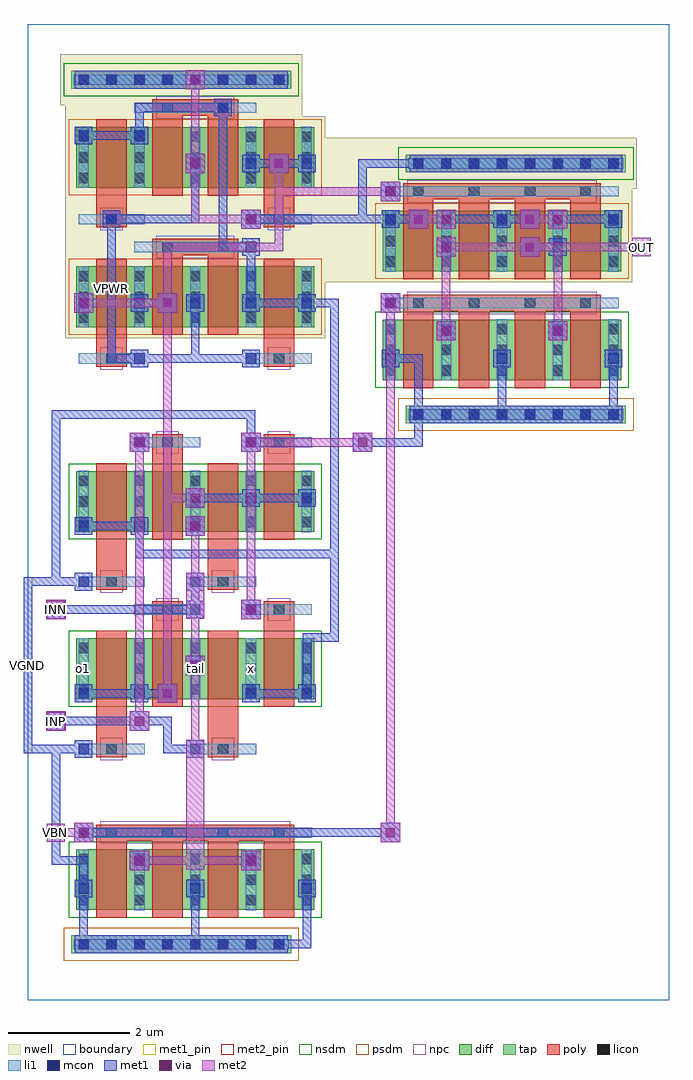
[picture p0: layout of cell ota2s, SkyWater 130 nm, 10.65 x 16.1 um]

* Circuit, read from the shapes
.subckt ota2s INN INP OUT VBN VGND VPWR o1 tail x
XM1 tail VBN VGND VGND sky130_fd_pr__nfet_01v8 w=1 l=0.5 m=4
XM2 o1 VGND o1 VGND sky130_fd_pr__nfet_01v8 w=1 l=0.5 m=2
XM3 x VGND x VGND sky130_fd_pr__nfet_01v8 w=1 l=0.5 m=2
XM4 tail INN o1 VGND sky130_fd_pr__nfet_01v8 w=1 l=0.5 m=2
XM5 tail INP x VGND sky130_fd_pr__nfet_01v8 w=1 l=0.5 m=2
XM6 OUT VBN VGND VGND sky130_fd_pr__nfet_01v8 w=1 l=0.5 m=4
XM7 o1 VPWR o1 VPWR sky130_fd_pr__pfet_01v8 w=1 l=0.5 m=2
XM8 x VPWR x VPWR sky130_fd_pr__pfet_01v8 w=1 l=0.5 m=2
XM9 VPWR x o1 VPWR sky130_fd_pr__pfet_01v8 w=1 l=0.5 m=2
XM10 VPWR x x VPWR sky130_fd_pr__pfet_01v8 w=1 l=0.5 m=2
XM11 OUT o1 VPWR VPWR sky130_fd_pr__pfet_01v8 w=1 l=0.5 m=4
.ends

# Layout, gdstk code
import gdstk
lib = gdstk.Library(unit=1e-6, precision=1e-09)
def R(c, l, rs):  # rectangles x0, y0, x1, y1
    for r in rs: c.add(gdstk.rectangle(r[:2], r[2:], *l))
def A(c, l, x, y, w, h, nx, ny, dx, dy):  # array of equal rectangles
    R(c, l, [(x+i*dx, y+j*dy, x+i*dx+w, y+j*dy+h) for i in range(nx) for j in range(ny)])
nwell = (64, 20)
diff = (65, 20)
tap = (65, 44)
poly = (66, 20)
licon = (66, 44)
li1 = (67, 20)
mcon = (67, 44)
met1_pin = (68, 16)
met1 = (68, 20)
via = (68, 44)
met2_pin = (69, 16)
met2 = (69, 20)
nsdm = (93, 44)
psdm = (94, 20)
npc = (95, 20)
boundary = (235, 4)

ota2s = lib.new_cell('ota2s')
R(ota2s, nwell, [(0.615,10.92,4.905,11.84), (0.615,11.84,9.965,13.38), (0.615,13.38,10.045,14.22), (0.615,14.22,4.905,14.58), (0.615,14.58,4.525,14.76), (0.535,14.76,4.525,15.6)])
R(ota2s, diff, [(0.795,1.485,4.725,2.485), (0.795,4.965,4.725,5.965), (0.795,7.725,4.725,8.725), (5.855,10.225,9.785,11.225), (0.795,11.1,4.725,12.1), (5.855,12.02,9.785,13.02), (0.795,13.4,4.725,14.4)])
R(ota2s, tap, [(0.715,0.775,4.345,1.065), (6.235,9.515,9.865,9.805), (6.235,13.655,9.865,13.945), (0.715,15.035,4.345,15.325)])
A(ota2s, poly, 1.13, 1.355, 0.5, 1.405, 4, 1, 0.92, 0)
A(ota2s, poly, 6.19, 10.095, 0.5, 1.405, 4, 1, 0.92, 0)
A(ota2s, poly, 6.19, 11.89, 0.5, 1.45, 4, 1, 0.92, 0)
R(ota2s, poly, [(1.13,2.625,4.39,2.895), (1.13,4.005,1.63,4.275), (2.97,4.005,3.47,4.275), (1.13,4.14,1.63,6.095), (2.97,4.14,3.47,6.095), (2.05,4.835,2.55,6.44), (3.89,4.835,4.39,6.44), (2.05,6.305,2.55,6.575), (3.89,6.305,4.39,6.575), (1.13,6.765,1.63,7.035), (2.97,6.765,3.47,7.035), (1.13,6.9,1.63,8.855), (2.97,6.9,3.47,8.855), (2.05,7.595,2.55,9.2), (3.89,7.595,4.39,9.2), (2.05,9.065,2.55,9.335), (3.89,9.065,4.39,9.335), (1.13,10.445,1.63,10.715), (3.89,10.445,4.39,10.715), (1.13,10.58,1.63,12.23), (3.89,10.58,4.39,12.23), (2.05,10.97,2.55,12.42), (2.97,10.97,3.47,12.42), (6.19,11.365,9.45,11.635), (2.05,12.285,3.47,12.555), (1.13,12.745,1.63,13.015), (3.89,12.745,4.39,13.015), (1.13,12.88,1.63,14.53), (3.89,12.88,4.39,14.53), (6.19,13.205,9.45,13.475), (2.05,13.27,2.55,14.72), (2.97,13.27,3.47,14.72), (2.05,14.585,3.47,14.855)])
A(ota2s, licon, 0.835, 0.835, 0.17, 0.17, 8, 2, 0.46, 14.26)
A(ota2s, licon, 0.835, 1.56, 0.17, 0.17, 5, 3, 0.92, 0.34)
A(ota2s, licon, 1.295, 2.675, 0.17, 0.17, 4, 1, 0.92, 0)
A(ota2s, licon, 0.835, 5.04, 0.17, 0.17, 5, 3, 0.92, 0.34)
A(ota2s, licon, 0.835, 7.8, 0.17, 0.17, 5, 3, 0.92, 0.34)
A(ota2s, licon, 6.355, 9.575, 0.17, 0.17, 8, 2, 0.46, 4.14)
A(ota2s, licon, 5.895, 10.3, 0.17, 0.17, 5, 3, 0.92, 0.34)
A(ota2s, licon, 0.835, 11.175, 0.17, 0.17, 5, 3, 0.92, 0.34)
A(ota2s, licon, 6.355, 11.415, 0.17, 0.17, 4, 2, 0.92, 1.84)
A(ota2s, licon, 5.895, 12.095, 0.17, 0.17, 5, 3, 0.92, 0.34)
A(ota2s, licon, 0.835, 13.475, 0.17, 0.17, 5, 3, 0.92, 0.34)
R(ota2s, licon, [(1.295,4.055,1.465,4.225), (3.135,4.055,3.305,4.225), (2.215,6.355,2.385,6.525), (4.055,6.355,4.225,6.525), (1.295,6.815,1.465,6.985), (3.135,6.815,3.305,6.985), (2.215,9.115,2.385,9.285), (4.055,9.115,4.225,9.285), (1.295,10.495,1.465,10.665), (4.055,10.495,4.225,10.665), (2.215,12.335,2.385,12.505), (3.135,12.335,3.305,12.505), (1.295,12.795,1.465,12.965), (4.055,12.795,4.225,12.965), (2.215,14.635,2.385,14.805), (3.135,14.635,3.305,14.805)])
A(ota2s, li1, 0.835, 1.48, 0.17, 1.01, 5, 2, 0.92, 3.48)
A(ota2s, li1, 0.835, 7.72, 0.17, 1.01, 5, 2, 0.92, 3.375)
A(ota2s, li1, 5.895, 10.22, 0.17, 1.01, 5, 2, 0.92, 1.795)
A(ota2s, li1, 0.835, 13.395, 0.17, 1.01, 5, 1, 0.92, 0)
R(ota2s, li1, [(0.755,0.835,4.305,1.005), (0.835,2.675,4.685,2.845), (0.835,4.055,1.925,4.225), (2.675,4.055,3.765,4.225), (1.755,6.355,2.845,6.525), (3.595,6.355,4.685,6.525), (0.835,6.815,1.925,6.985), (2.675,6.815,3.765,6.985), (1.755,9.115,2.845,9.285), (3.595,9.115,4.685,9.285), (6.275,9.575,9.825,9.745), (0.835,10.495,1.925,10.665), (3.595,10.495,4.685,10.665), (5.895,11.415,9.745,11.585), (1.755,12.335,3.765,12.505), (0.835,12.795,1.925,12.965), (3.595,12.795,4.685,12.965), (5.895,13.255,9.745,13.425), (6.275,13.715,9.825,13.885), (1.755,14.635,3.765,14.805), (0.755,15.095,4.305,15.265)])
A(ota2s, mcon, 0.835, 0.835, 0.17, 0.17, 8, 2, 0.46, 14.26)
A(ota2s, mcon, 0.835, 1.755, 0.17, 0.17, 3, 1, 1.84, 0)
A(ota2s, mcon, 0.835, 7.735, 0.17, 0.17, 3, 1, 0.92, 0)
A(ota2s, mcon, 6.355, 9.575, 0.17, 0.17, 8, 2, 0.46, 4.14)
A(ota2s, mcon, 5.895, 10.495, 0.17, 0.17, 3, 1, 1.84, 0)
A(ota2s, mcon, 0.835, 11.415, 0.17, 0.17, 5, 1, 0.92, 0)
A(ota2s, mcon, 1.295, 12.795, 0.17, 0.17, 3, 1, 2.3, 0)
A(ota2s, mcon, 2.675, 13.715, 0.17, 0.17, 3, 1, 0.92, 0)
R(ota2s, mcon, [(1.755,2.215,1.925,2.385), (3.595,2.215,3.765,2.385), (0.835,2.675,1.005,2.845), (0.835,4.055,1.005,4.225), (2.675,4.055,2.845,4.225), (0.835,4.975,1.005,5.145), (1.755,4.975,1.925,5.145), (3.595,4.975,3.765,5.145), (4.515,4.975,4.685,5.145), (2.675,5.435,2.845,5.605), (2.675,6.355,2.845,6.525), (3.595,6.355,3.765,6.525), (0.835,6.815,1.005,6.985), (2.675,6.815,2.845,6.985), (3.595,8.195,3.765,8.365), (4.515,8.195,4.685,8.365), (1.755,9.115,1.925,9.285), (3.595,9.115,3.765,9.285), (1.755,10.495,1.925,10.665), (3.595,10.495,3.765,10.665), (6.815,10.955,6.985,11.125), (8.655,10.955,8.825,11.125), (5.895,11.415,6.065,11.585), (3.595,12.335,3.765,12.505), (6.815,12.335,6.985,12.505), (8.655,12.335,8.825,12.505), (7.735,12.795,7.905,12.965), (9.575,12.795,9.745,12.965), (5.895,13.255,6.065,13.425), (0.835,14.175,1.005,14.345), (1.755,14.175,1.925,14.345), (3.135,14.635,3.305,14.805)])
R(ota2s, met1_pin, [(-0.07,4.07,0.07,6.97), (1.31,10.51,1.45,12.95)])
A(ota2s, met1, 0.85, 0.85, 0.14, 1.06, 3, 1, 1.84, 0)
A(ota2s, met1, 0.775, 1.695, 0.29, 0.29, 3, 1, 1.84, 0)
A(ota2s, met1, 3.61, 4.99, 1.06, 0.14, 1, 3, 0, 3.22)
A(ota2s, met1, 0.775, 7.675, 0.29, 0.29, 3, 1, 0.92, 0)
A(ota2s, met1, 1.68, 9.04, 0.32, 0.32, 3, 1, 1.84, 0)
A(ota2s, met1, 5.835, 10.435, 0.29, 0.29, 3, 1, 1.84, 0)
A(ota2s, met1, 0.775, 11.355, 0.29, 0.29, 5, 1, 0.92, 0)
A(ota2s, met1, 1.235, 12.735, 0.29, 0.29, 3, 1, 2.3, 0)
A(ota2s, met1, 2.615, 13.655, 0.29, 0.29, 3, 1, 0.92, 0)
R(ota2s, met1, [(0.775,0.775,4.285,1.065), (0.85,0.85,0.99,0.99), (0.85,0.85,2.83,0.99), (2.69,0.85,4.67,0.99), (0.85,1.77,0.99,2.37), (1.68,2.14,2,2.46), (3.52,2.14,3.84,2.46), (1.695,2.155,1.985,2.445), (3.535,2.155,3.825,2.445), (0.39,2.23,0.99,2.37), (0.39,2.23,0.53,4.21), (0.76,2.6,1.08,2.92), (5.82,2.6,6.14,2.92), (0.775,2.615,1.065,2.905), (0.85,2.69,6.05,2.83), (0.775,3.995,1.065,4.285), (2.615,3.995,2.905,4.285), (-0.07,4.07,0.53,4.21), (-0.07,4.07,0.07,6.97), (0.39,4.07,0.99,4.21), (2.23,4.07,2.83,4.21), (2.23,4.07,2.37,4.67), (0.3,4.44,0.62,4.76), (1.68,4.44,2,4.76), (0.39,4.53,2.37,4.67), (2.14,4.9,2.46,5.22), (0.775,4.915,1.065,5.205), (1.695,4.915,1.985,5.205), (3.535,4.915,3.825,5.205), (4.455,4.915,4.745,5.205), (0.85,4.99,1.91,5.13), (1.77,4.99,2.37,5.13), (4.53,4.99,4.67,6.05), (2.6,5.36,2.92,5.68), (2.615,5.375,2.905,5.665), (4.53,5.91,5.13,6.05), (4.99,5.91,5.13,7.43), (0.3,6.28,0.62,6.6), (3.52,6.28,3.84,6.6), (2.615,6.295,2.905,6.585), (3.535,6.295,3.825,6.585), (0.39,6.37,2.83,6.51), (2.69,6.37,2.83,6.97), (0.775,6.755,1.065,7.045), (2.615,6.755,2.905,7.045), (-0.07,6.83,0.99,6.97), (0.39,6.83,0.53,9.73), (1.77,7.29,5.13,7.43), (1.77,7.29,1.91,7.89), (4.99,7.29,5.13,11.57), (2.6,7.66,2.92,7.98), (0.85,7.75,1.91,7.89), (2.6,8.12,2.92,8.44), (3.535,8.135,3.825,8.425), (4.455,8.135,4.745,8.425), (2.69,8.21,3.75,8.35), (1.695,9.055,1.985,9.345), (3.535,9.055,3.825,9.345), (3.61,9.13,3.75,9.73), (5.45,9.13,6.51,9.27), (6.37,9.13,6.51,9.73), (6.295,9.515,9.805,9.805), (0.39,9.59,3.75,9.73), (6.37,9.59,6.51,9.73), (6.37,9.59,6.51,10.65), (6.37,9.59,7.89,9.73), (7.75,9.59,7.89,10.65), (7.75,9.59,9.73,9.73), (9.59,9.59,9.73,10.65), (1.695,10.435,1.985,10.725), (3.535,10.435,3.825,10.725), (1.31,10.51,1.91,10.65), (1.31,10.51,1.45,12.95), (1.77,10.51,2.83,10.65), (2.69,10.51,2.83,11.57), (2.69,10.51,3.75,10.65), (5.91,10.51,6.51,10.65), (6.74,10.88,7.06,11.2), (8.58,10.88,8.9,11.2), (6.755,10.895,7.045,11.185), (8.595,10.895,8.885,11.185), (0.76,11.34,1.08,11.66), (2.14,11.34,2.46,11.66), (5.82,11.34,6.14,11.66), (5.835,11.355,6.125,11.645), (1.77,11.43,2.37,11.57), (3.61,11.43,3.75,12.49), (4.53,11.43,5.13,11.57), (6.74,12.26,7.06,12.58), (8.12,12.26,8.44,12.58), (3.535,12.275,3.825,12.565), (6.755,12.275,7.045,12.565), (8.595,12.275,8.885,12.565), (3.15,12.35,3.75,12.49), (3.15,12.35,3.29,14.79), (8.21,12.35,8.81,12.49), (3.52,12.72,3.84,13.04), (6.28,12.72,6.6,13.04), (6.74,12.72,7.06,13.04), (8.12,12.72,8.44,13.04), (8.58,12.72,8.9,13.04), (7.675,12.735,7.965,13.025), (9.515,12.735,9.805,13.025), (1.31,12.81,2.83,12.95), (2.69,12.81,2.83,13.87), (3.61,12.81,6.05,12.95), (5.45,12.81,5.59,13.87), (5.91,12.81,6.51,12.95), (6.83,12.81,7.89,12.95), (7.75,12.81,8.35,12.95), (8.67,12.81,9.73,12.95), (5.82,13.18,6.14,13.5), (5.835,13.195,6.125,13.485), (2.6,13.64,2.92,13.96), (3.98,13.64,4.3,13.96), (6.295,13.655,9.805,13.945), (3.61,13.73,4.21,13.87), (4.07,13.73,4.67,13.87), (5.45,13.73,6.51,13.87), (6.37,13.73,6.51,13.87), (0.775,14.115,1.065,14.405), (1.695,14.115,1.985,14.405), (0.85,14.19,1.91,14.33), (1.77,14.19,1.91,14.79), (3.075,14.575,3.365,14.865), (1.77,14.65,3.29,14.79), (2.6,15.02,2.92,15.34), (0.775,15.035,4.285,15.325), (2.69,15.11,2.83,15.25)])
A(ota2s, via, 1.765, 9.125, 0.15, 0.15, 3, 1, 1.84, 0)
R(ota2s, via, [(1.765,2.225,1.915,2.375), (3.605,2.225,3.755,2.375), (0.845,2.685,0.995,2.835), (5.905,2.685,6.055,2.835), (0.385,4.525,0.535,4.675), (1.765,4.525,1.915,4.675), (2.225,4.985,2.375,5.135), (2.685,5.445,2.835,5.595), (0.385,6.365,0.535,6.515), (3.605,6.365,3.755,6.515), (2.685,7.745,2.835,7.895), (2.685,8.205,2.835,8.355), (6.825,10.965,6.975,11.115), (8.665,10.965,8.815,11.115), (0.845,11.425,0.995,11.575), (2.225,11.425,2.375,11.575), (5.905,11.425,6.055,11.575), (6.825,12.345,6.975,12.495), (8.205,12.345,8.355,12.495), (3.605,12.805,3.755,12.955), (6.365,12.805,6.515,12.955), (6.825,12.805,6.975,12.955), (8.205,12.805,8.355,12.955), (8.665,12.805,8.815,12.955), (5.905,13.265,6.055,13.415), (2.685,13.725,2.835,13.875), (4.065,13.725,4.215,13.875), (2.685,15.105,2.835,15.255)])
A(ota2s, met2_pin, 0.31, 2.61, 0.3, 0.3, 1, 3, 0, 1.84)
R(ota2s, met2_pin, [(9.97,12.27,10.27,12.57)])
A(ota2s, met2, 0.31, 2.61, 0.3, 0.3, 1, 3, 0, 1.84)
A(ota2s, met2, 0.39, 2.69, 0.14, 0.14, 1, 3, 0, 1.84)
A(ota2s, met2, 1.68, 9.04, 0.32, 0.32, 3, 1, 1.84, 0)
R(ota2s, met2, [(1.68,2.14,2,2.46), (3.52,2.14,3.84,2.46), (2.61,2.15,2.91,4.29), (1.77,2.23,2.83,2.37), (2.69,2.23,3.75,2.37), (0.76,2.6,1.08,2.92), (5.82,2.6,6.14,2.92), (0.39,2.69,0.99,2.83), (5.91,2.69,6.05,11.57), (2.69,4.07,2.83,5.59), (0.3,4.44,0.62,4.76), (1.68,4.44,2,4.76), (1.77,4.53,1.91,9.27), (2.14,4.9,2.46,5.22), (2.23,4.99,2.37,8.35), (2.6,5.36,2.92,5.68), (2.69,5.45,2.83,6.51), (0.3,6.28,0.62,6.6), (3.52,6.28,3.84,6.6), (2.61,6.29,2.91,7.05), (3.61,6.37,3.75,9.27), (2.69,6.83,2.83,7.89), (2.6,7.66,2.92,7.98), (2.6,8.12,2.92,8.44), (2.23,8.21,2.83,8.35), (2.23,8.21,2.37,11.57), (3.61,9.13,5.59,9.27), (6.74,10.88,7.06,11.2), (8.58,10.88,8.9,11.2), (6.83,10.97,6.97,12.49), (8.67,10.97,8.81,12.49), (0.76,11.34,1.08,11.66), (2.14,11.34,2.46,11.66), (5.82,11.34,6.14,11.66), (0.85,11.43,2.37,11.57), (2.23,11.43,2.37,12.49), (6.74,12.26,7.06,12.58), (8.12,12.26,8.44,12.58), (9.97,12.27,10.27,12.57), (2.23,12.35,4.21,12.49), (4.07,12.35,4.21,13.87), (6.83,12.35,8.35,12.49), (8.21,12.35,10.19,12.49), (10.05,12.35,10.19,12.49), (3.52,12.72,3.84,13.04), (6.28,12.72,6.6,13.04), (6.74,12.72,7.06,13.04), (8.12,12.72,8.44,13.04), (8.58,12.72,8.9,13.04), (2.69,12.81,2.83,13.87), (2.69,12.81,3.75,12.95), (6.37,12.81,6.97,12.95), (8.21,12.81,8.81,12.95), (5.82,13.18,6.14,13.5), (4.07,13.27,6.05,13.41), (2.6,13.64,2.92,13.96), (3.98,13.64,4.3,13.96), (2.69,13.73,2.83,15.25), (2.6,15.02,2.92,15.34)])
R(ota2s, nsdm, [(0.67,1.36,4.85,2.61), (0.67,4.84,4.85,6.09), (0.67,7.6,4.85,8.85), (5.73,10.1,9.91,11.35), (6.11,13.53,9.99,14.07), (0.59,14.91,4.47,15.45)])
R(ota2s, psdm, [(0.59,0.65,4.47,1.19), (6.11,9.39,9.99,9.93), (0.67,10.975,4.85,12.225), (5.73,11.895,9.91,13.145), (0.67,13.275,4.85,14.525)])
R(ota2s, npc, [(1.195,2.575,4.325,2.945), (1.195,3.955,1.565,4.325), (3.035,3.955,3.405,4.325), (2.115,6.255,2.485,6.625), (3.955,6.255,4.325,6.625), (1.195,6.715,1.565,7.085), (3.035,6.715,3.405,7.085), (2.115,9.015,2.485,9.385), (3.955,9.015,4.325,9.385), (1.195,10.395,1.565,10.765), (3.955,10.395,4.325,10.765), (6.255,11.315,9.385,11.685), (2.115,12.235,3.405,12.605), (1.195,12.695,1.565,13.065), (3.955,12.695,4.325,13.065), (6.255,13.155,9.385,13.525), (2.115,14.535,3.405,14.905)])
R(ota2s, boundary, [(0,0,10.58,16.1)])
ota2s.add(gdstk.Label('o1', (0.92,5.465), layer=67, texttype=5))
ota2s.add(gdstk.Label('tail', (2.76,5.465), layer=67, texttype=5))
ota2s.add(gdstk.Label('x', (3.68,5.465), layer=67, texttype=5))
ota2s.add(gdstk.Label('VPWR', (1.38,11.73), layer=68, texttype=5))
ota2s.add(gdstk.Label('VGND', (0,5.52), layer=68, texttype=5))
ota2s.add(gdstk.Label('INP', (0.46,4.6), layer=69, texttype=5))
ota2s.add(gdstk.Label('INN', (0.46,6.44), layer=69, texttype=5))
ota2s.add(gdstk.Label('VBN', (0.46,2.76), layer=69, texttype=5))
ota2s.add(gdstk.Label('OUT', (10.12,12.42), layer=69, texttype=5))
ota2s.add(gdstk.Label('VPWR', (1.38,11.73), layer=68, texttype=16))
ota2s.add(gdstk.Label('VGND', (0,5.52), layer=68, texttype=16))
ota2s.add(gdstk.Label('INP', (0.46,4.6), layer=69, texttype=16))
ota2s.add(gdstk.Label('INN', (0.46,6.44), layer=69, texttype=16))
ota2s.add(gdstk.Label('VBN', (0.46,2.76), layer=69, texttype=16))
ota2s.add(gdstk.Label('OUT', (10.12,12.42), layer=69, texttype=16))

lib.write_gds('ota2s.gds')
